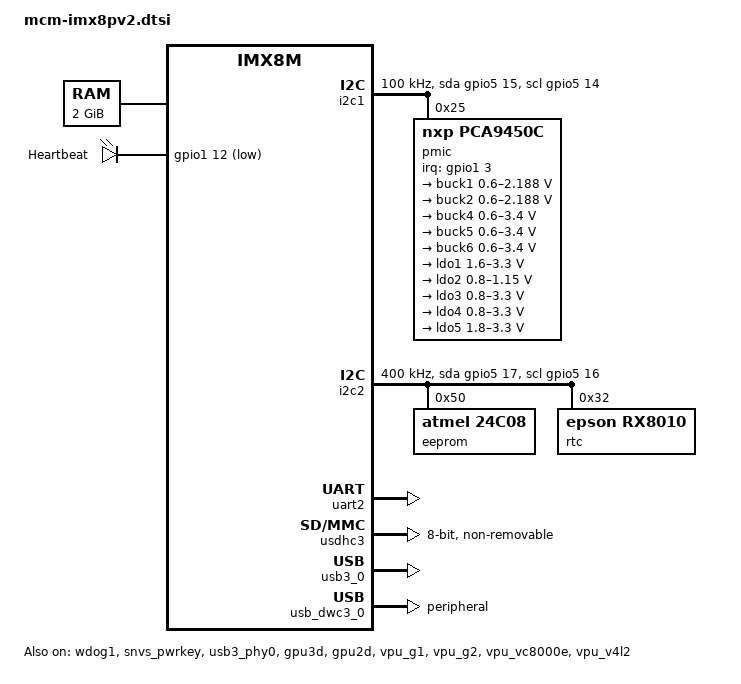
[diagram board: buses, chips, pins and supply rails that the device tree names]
// SPDX-License-Identifier: (GPL-2.0+ OR MIT)
/* Copyright 2026 CompuLab Ltd. */

#include "compulab-imx8m-plus.dtsi"

/ {
	chosen {
		stdout-path = &uart2;
	};

	/* U-Boot fixes up the memory ranges for the installed DRAM. */
	memory@40000000 {
		device_type = "memory";
		reg = <0x0 0x40000000 0 0x80000000>;
	};

	leds {
		compatible = "gpio-leds";
		pinctrl-names = "default";
		pinctrl-0 = <&pinctrl_gpio_led>;

		led-status {
			label = "Heartbeat";
			gpios = <&gpio1 12 GPIO_ACTIVE_LOW>;
			linux,default-trigger = "heartbeat";
		};
	};
};

&A53_0 {
	cpu-supply = <&buck2>;
};

&A53_1 {
	cpu-supply = <&buck2>;
};

&A53_2 {
	cpu-supply = <&buck2>;
};

&A53_3 {
	cpu-supply = <&buck2>;
};

&i2c1 {
	clock-frequency = <100000>;
	pinctrl-names = "default", "gpio";
	pinctrl-0 = <&pinctrl_i2c1>;
	pinctrl-1 = <&pinctrl_i2c1_gpio>;
	scl-gpios = <&gpio5 14 (GPIO_ACTIVE_HIGH | GPIO_OPEN_DRAIN)>;
	sda-gpios = <&gpio5 15 (GPIO_ACTIVE_HIGH | GPIO_OPEN_DRAIN)>;
	status = "okay";

	pmic: pca9450@25 {
		reg = <0x25>;
		compatible = "nxp,pca9450c";
		/* PMIC PCA9450 PMIC_nINT GPIO1_IO3 */
		pinctrl-names = "default";
		pinctrl-0 = <&pinctrl_pmic>;
		interrupt-parent = <&gpio1>;
		interrupts = <3 IRQ_TYPE_LEVEL_LOW>;

		regulators {
			buck1: BUCK1 {
				regulator-name = "BUCK1";
				regulator-min-microvolt = <600000>;
				regulator-max-microvolt = <2187500>;
				regulator-boot-on;
				regulator-always-on;
				regulator-ramp-delay = <3125>;
			};

			buck2: BUCK2 {
				regulator-name = "BUCK2";
				regulator-min-microvolt = <600000>;
				regulator-max-microvolt = <2187500>;
				regulator-boot-on;
				regulator-always-on;
				regulator-ramp-delay = <3125>;
				nxp,dvs-run-voltage = <950000>;
				nxp,dvs-standby-voltage = <850000>;
			};

			buck4: BUCK4 {
				regulator-name = "BUCK4";
				regulator-min-microvolt = <600000>;
				regulator-max-microvolt = <3400000>;
				regulator-boot-on;
				regulator-always-on;
			};

			buck5: BUCK5 {
				regulator-name = "BUCK5";
				regulator-min-microvolt = <600000>;
				regulator-max-microvolt = <3400000>;
				regulator-boot-on;
				regulator-always-on;
			};

			buck6: BUCK6 {
				regulator-name = "BUCK6";
				regulator-min-microvolt = <600000>;
				regulator-max-microvolt = <3400000>;
				regulator-boot-on;
				regulator-always-on;
			};

			ldo1: LDO1 {
				regulator-name = "LDO1";
				regulator-min-microvolt = <1600000>;
				regulator-max-microvolt = <3300000>;
				regulator-boot-on;
				regulator-always-on;
			};

			ldo2: LDO2 {
				regulator-name = "LDO2";
				regulator-min-microvolt = <800000>;
				regulator-max-microvolt = <1150000>;
				regulator-boot-on;
				regulator-always-on;
			};

			ldo3: LDO3 {
				regulator-name = "LDO3";
				regulator-min-microvolt = <800000>;
				regulator-max-microvolt = <3300000>;
				regulator-boot-on;
				regulator-always-on;
			};

			ldo4: LDO4 {
				regulator-name = "LDO4";
				regulator-min-microvolt = <800000>;
				regulator-max-microvolt = <3300000>;
				regulator-boot-on;
				regulator-always-on;
			};

			ldo5: LDO5 {
				regulator-name = "LDO5";
				regulator-min-microvolt = <1800000>;
				regulator-max-microvolt = <3300000>;
				regulator-boot-on;
				regulator-always-on;
			};
		};
	};
};

&i2c2 {
	clock-frequency = <400000>;
	pinctrl-names = "default", "gpio";
	pinctrl-0 = <&pinctrl_i2c2>;
	pinctrl-1 = <&pinctrl_i2c2_gpio>;
	scl-gpios = <&gpio5 16 (GPIO_ACTIVE_HIGH | GPIO_OPEN_DRAIN)>;
	sda-gpios = <&gpio5 17 (GPIO_ACTIVE_HIGH | GPIO_OPEN_DRAIN)>;
	status = "okay";

	eeprom@50 {
		compatible = "atmel,24c08";
		reg = <0x50>;
		pagesize = <16>;
	};

	rtc@32 {
		compatible = "epson,rx8010";
		reg = <0x32>;
	};
};

&uart2 {
	/* console */
	pinctrl-names = "default";
	pinctrl-0 = <&pinctrl_uart2>;
	assigned-clocks = <&clk IMX8MP_CLK_UART2>;
	assigned-clock-parents = <&clk IMX8MP_SYS_PLL1_80M>;
	status = "okay";
};

&usdhc3 {
	mmc-hs400-1_8v;
	mmc-hs400-enhanced-strobe;
	assigned-clocks = <&clk IMX8MP_CLK_USDHC3>;
	assigned-clock-rates = <400000000>;
	pinctrl-names = "default", "state_100mhz", "state_200mhz";
	pinctrl-0 = <&pinctrl_usdhc3>;
	pinctrl-1 = <&pinctrl_usdhc3_100mhz>;
	pinctrl-2 = <&pinctrl_usdhc3_200mhz>;
	bus-width = <8>;
	non-removable;
	status = "okay";
};

&wdog1 {
	pinctrl-names = "default";
	pinctrl-0 = <&pinctrl_wdog>;
	fsl,ext-reset-output;
	status = "okay";
};

&snvs_pwrkey {
	status = "okay";
};

&usb3_phy0 {
	fsl,phy-tx-preemp-amp-tune = <3>;
	status = "okay";
};

&usb3_0 {
	status = "okay";
};

&usb_dwc3_0 {
	dr_mode = "peripheral";
	status = "okay";
};

&gpu3d {
	status = "okay";
};

&gpu2d {
	status = "okay";
};

&vpu_g1 {
	status = "okay";
};

&vpu_g2 {
	status = "okay";
};

&vpu_vc8000e {
	status = "okay";
};

&vpu_v4l2 {
	status = "okay";
};

&resmem {
	/* global autoconfigured region for contiguous allocations */
	linux,cma {
		compatible = "shared-dma-pool";
		reusable;
		size = <0 0x2c000000>;
		alloc-ranges = <0 0x40000000 0 0x80000000>;
		linux,cma-default;
	};
};

&iomuxc {
	pinctrl_gpio_led: gpioledgrp {
		fsl,pins = <
			MX8MP_IOMUXC_GPIO1_IO12__GPIO1_IO12	0x140
		>;
	};

	pinctrl_i2c1: i2c1grp {
		fsl,pins = <
			MX8MP_IOMUXC_I2C1_SCL__I2C1_SCL			0x400001c2
			MX8MP_IOMUXC_I2C1_SDA__I2C1_SDA			0x400001c2
		>;
	};

	pinctrl_i2c1_gpio: i2c1gpiogrp {
		fsl,pins = <
			MX8MP_IOMUXC_I2C1_SCL__GPIO5_IO14		0x1c2 /*I2C1_SCL*/
			MX8MP_IOMUXC_I2C1_SDA__GPIO5_IO15		0x1c2 /*I2C1_SDA*/
		>;
	};

	pinctrl_i2c2: i2c2grp {
		fsl,pins = <
			MX8MP_IOMUXC_I2C2_SCL__I2C2_SCL			0x400001c2
			MX8MP_IOMUXC_I2C2_SDA__I2C2_SDA			0x400001c2
		>;
	};

	pinctrl_i2c2_gpio: i2c2gpiogrp {
		fsl,pins = <
			MX8MP_IOMUXC_I2C2_SCL__GPIO5_IO16		0x1c2 /*I2C2_SCL*/
			MX8MP_IOMUXC_I2C2_SDA__GPIO5_IO17		0x1c2 /*I2C2_SDA*/
		>;
	};

	pinctrl_pmic: pmicirq {
		fsl,pins = <
			MX8MP_IOMUXC_GPIO1_IO03__GPIO1_IO03	0x000001c0
		>;
	};

	pinctrl_uart2: uart2grp {
		fsl,pins = <
			MX8MP_IOMUXC_UART2_RXD__UART2_DCE_RX	0x140
			MX8MP_IOMUXC_UART2_TXD__UART2_DCE_TX	0x140
		>;
	};

	pinctrl_usdhc3: usdhc3grp {
		fsl,pins = <
			MX8MP_IOMUXC_NAND_WE_B__USDHC3_CLK	0x190
			MX8MP_IOMUXC_NAND_WP_B__USDHC3_CMD	0x1d0
			MX8MP_IOMUXC_NAND_DATA04__USDHC3_DATA0	0x1d0
			MX8MP_IOMUXC_NAND_DATA05__USDHC3_DATA1	0x1d0
			MX8MP_IOMUXC_NAND_DATA06__USDHC3_DATA2	0x1d0
			MX8MP_IOMUXC_NAND_DATA07__USDHC3_DATA3	0x1d0
			MX8MP_IOMUXC_NAND_RE_B__USDHC3_DATA4	0x1d0
			MX8MP_IOMUXC_NAND_CE2_B__USDHC3_DATA5	0x1d0
			MX8MP_IOMUXC_NAND_CE3_B__USDHC3_DATA6	0x1d0
			MX8MP_IOMUXC_NAND_CLE__USDHC3_DATA7	0x1d0
			MX8MP_IOMUXC_NAND_CE1_B__USDHC3_STROBE	0x190
		>;
	};

	pinctrl_usdhc3_100mhz: usdhc3grp-100mhz {
		fsl,pins = <
			MX8MP_IOMUXC_NAND_WE_B__USDHC3_CLK	0x194
			MX8MP_IOMUXC_NAND_WP_B__USDHC3_CMD	0x1d4
			MX8MP_IOMUXC_NAND_DATA04__USDHC3_DATA0	0x1d4
			MX8MP_IOMUXC_NAND_DATA05__USDHC3_DATA1	0x1d4
			MX8MP_IOMUXC_NAND_DATA06__USDHC3_DATA2	0x1d4
			MX8MP_IOMUXC_NAND_DATA07__USDHC3_DATA3	0x1d4
			MX8MP_IOMUXC_NAND_RE_B__USDHC3_DATA4	0x1d4
			MX8MP_IOMUXC_NAND_CE2_B__USDHC3_DATA5	0x1d4
			MX8MP_IOMUXC_NAND_CE3_B__USDHC3_DATA6	0x1d4
			MX8MP_IOMUXC_NAND_CLE__USDHC3_DATA7	0x1d4
			MX8MP_IOMUXC_NAND_CE1_B__USDHC3_STROBE	0x194
		>;
	};

	pinctrl_usdhc3_200mhz: usdhc3grp-200mhz {
		fsl,pins = <
			MX8MP_IOMUXC_NAND_WE_B__USDHC3_CLK	0x196
			MX8MP_IOMUXC_NAND_WP_B__USDHC3_CMD	0x1d6
			MX8MP_IOMUXC_NAND_DATA04__USDHC3_DATA0	0x1d6
			MX8MP_IOMUXC_NAND_DATA05__USDHC3_DATA1	0x1d6
			MX8MP_IOMUXC_NAND_DATA06__USDHC3_DATA2	0x1d6
			MX8MP_IOMUXC_NAND_DATA07__USDHC3_DATA3	0x1d6
			MX8MP_IOMUXC_NAND_RE_B__USDHC3_DATA4	0x1d6
			MX8MP_IOMUXC_NAND_CE2_B__USDHC3_DATA5	0x1d6
			MX8MP_IOMUXC_NAND_CE3_B__USDHC3_DATA6	0x1d6
			MX8MP_IOMUXC_NAND_CLE__USDHC3_DATA7	0x1d6
			MX8MP_IOMUXC_NAND_CE1_B__USDHC3_STROBE	0x196
		>;
	};

	pinctrl_wdog: wdoggrp {
		fsl,pins = <
			MX8MP_IOMUXC_GPIO1_IO02__WDOG1_WDOG_B	0xc6
		>;
	};

};
